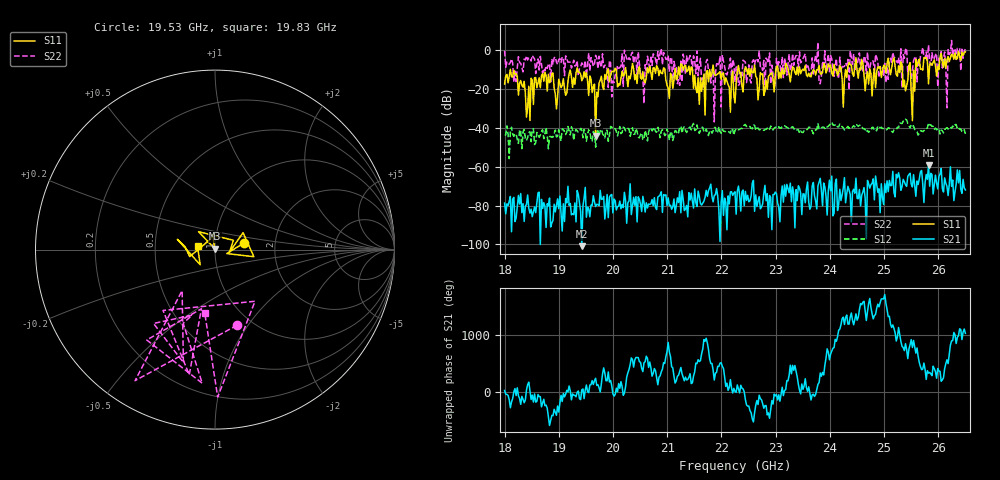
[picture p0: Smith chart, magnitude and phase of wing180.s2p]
!Keysight Technologies,N5242B,MY47200105,A.14.00.23
!Date: Friday, May 10, 2024 11:06:09
!Correction: S11(C  2-Port  )
!S21(C  2-Port  )
!S12(C  2-Port  )
!S22(C  2-Port  )
!S2P File: Measurement: :
# Hz S  RI  R 50
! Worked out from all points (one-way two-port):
!   401 points, 18 GHz to 26.5 GHz, reference 50 ohm
!   highest |S21| = -59.12 dB at 25.82 GHz (marker M1); lowest = -100.9 dB at 19.42 GHz (marker M2)
!   lowest |S11| = -44.0 dB at 19.68 GHz (marker M3), VSWR 1.01, Z = 49.8 + j0.594 ohm
!   |S11| at or under -10 dB: 18.11 GHz to 19.33 GHz (1.223 GHz wide, 6.53 % of centre); 19.35 GHz to 19.9 GHz (554.4 MHz wide, 2.82 % of centre); 21.86 GHz to 22.3 GHz (440.5 MHz wide, 2 % of centre) (the widest 3 of 58)
!   |S22| runs from -36.8 to 5.1 dB; largest |S21 - S12| = 0.016
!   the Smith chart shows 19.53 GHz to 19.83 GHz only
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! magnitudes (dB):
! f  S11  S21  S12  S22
! 18 GHz  -17.3  -78.7  -43.7  -0.2
! 18.19 GHz  -12.2  -88.2  -43.2  -10.7
! 18.43 GHz  -29.5  -74.5  -44.8  -4.9
! 18.72 GHz  -15.8  -78.4  -45.5  -9.3
! 18.96 GHz  -30.2  -79.7  -44.6  -6.0
! 19.42 GHz  -15.6  -100.9  -41.1  -6.4
! 19.68 GHz  -44.0  -80.5  -49.8  -2.5
! 20.02 GHz  -11.0  -76.6  -40.3  -16.5
! 20.25 GHz  -13.5  -89.1  -41.1  -4.2
! 20.55 GHz  -10.8  -75.2  -46.1  -13.8
! 20.85 GHz  -13.0  -75.1  -41.6  -4.6
! 21.23 GHz  -12.8  -72.8  -39.2  -18.0
! 21.4 GHz  -8.1  -73.3  -39.9  -4.3
! 21.59 GHz  -27.7  -75.2  -42.7  -8.2
! 21.85 GHz  -7.5  -78.0  -41.4  -8.9
! 22.25 GHz  -27.1  -72.9  -41.3  -16.3
! 23.67 GHz  -11.1  -69.8  -41.6  -3.8
! 25.1 GHz  -9.1  -67.0  -40.0  -5.9
! 25.52 GHz  -36.2  -70.3  -38.7  -10.1
! 25.63 GHz  -6.0  -69.1  -43.7  -5.0
! 25.82 GHz  -17.3  -59.1  -37.3  2.8
! 26.5 GHz  -0.7  -71.9  -43.0  0.6
